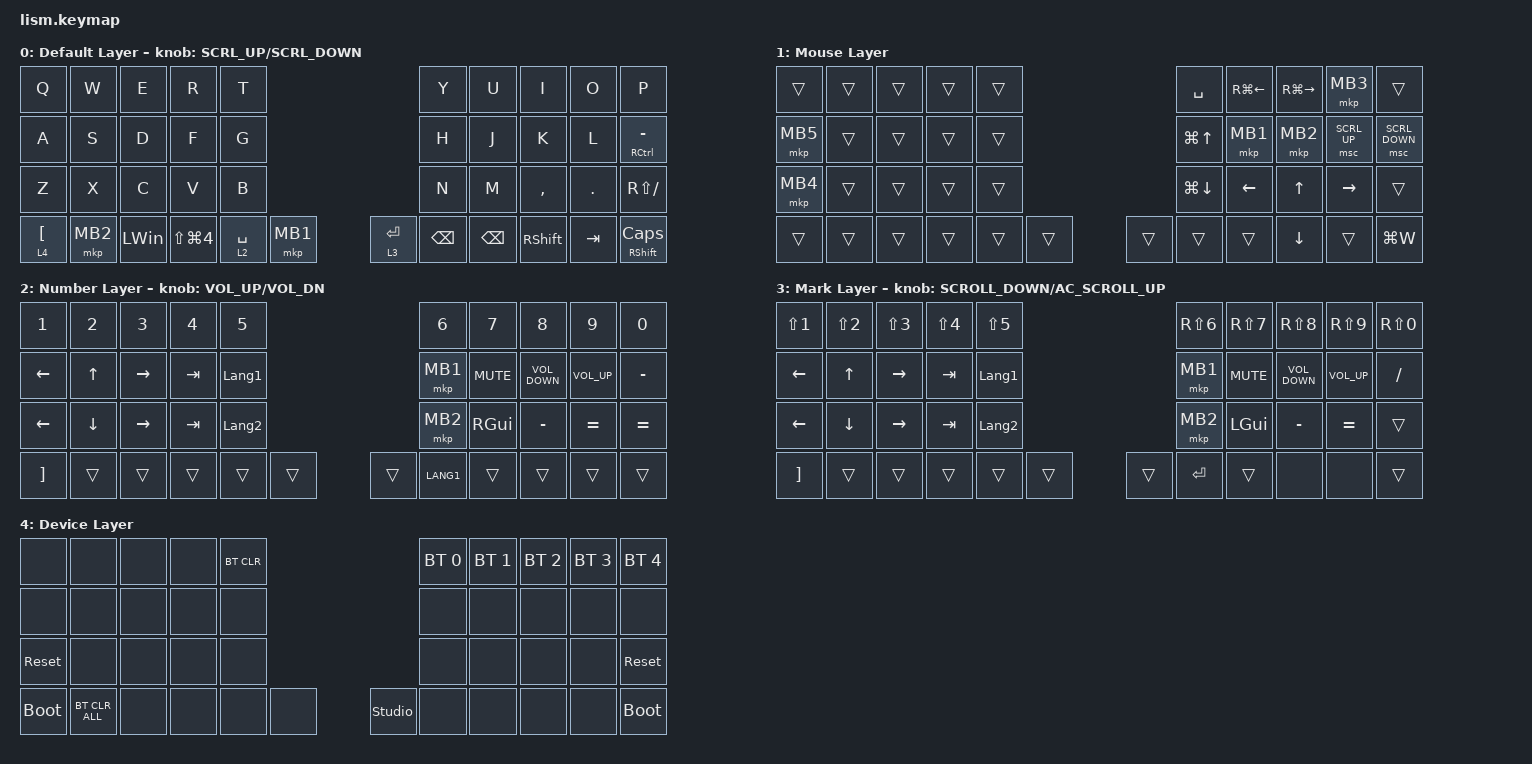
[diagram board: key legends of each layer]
#define ZMK_POINTING_DEFAULT_SCRL_VAL 200

#include <dt-bindings/zmk/mouse.h>
#include <behaviors.dtsi>
#include <dt-bindings/zmk/bt.h>
#include <dt-bindings/zmk/keys.h>
#include <dt-bindings/zmk/pointing.h>

&mt {
    tapping-term-ms = <300>;
    flavor = "balanced";
};

&lt { quick-tap-ms = <300>; };

/ {
    macros {
        emoji: emoji_macro {
            compatible = "zmk,behavior-macro";
            label = "EMOJI";
            #binding-cells = <0>;
            bindings =
                <&macro_press>,
                <&kp CAPSLOCK>,
                <&macro_tap>,
                <&kp E>,
                <&macro_release>,
                <&kp CAPSLOCK>;
        };
    };

    behaviors {
        encoder_msc: sensor_rotate_msc {
            compatible = "zmk,behavior-sensor-rotate-var";
            #sensor-binding-cells = <2>;
            bindings = <&msc>, <&msc>;

            tap-ms = <20>;
        };

        encoder_kp: sensor_rotate_kp {
            compatible = "zmk,behavior-sensor-rotate-var";
            #sensor-binding-cells = <2>;
            bindings = <&kp>, <&kp>;
        };
    };

    combos {
        compatible = "zmk,combos";

        t {
            bindings = <&kp TAB>;
            key-positions = <4 3>;
        };

        cnt {
            bindings = <&kp LEFT_CONTROL>;
            key-positions = <2 1>;
        };

        shift {
            bindings = <&kp LEFT_SHIFT>;
            key-positions = <1 0>;
        };
    };

    keymap {
        compatible = "zmk,keymap";

        default_layer {
            display-name = "Default Layer";
            bindings = <
&kp Q               &kp W     &kp E         &kp R           &kp T                                 &kp Y          &kp U          &kp I            &kp O    &kp P
&kp A               &kp S     &kp D         &kp F           &kp G                                 &kp H          &kp J          &kp K            &kp L    &mt RIGHT_CONTROL MINUS
&kp Z               &kp X     &kp C         &kp V           &kp B                                 &kp N          &kp M          &kp COMMA        &kp DOT  &kp RS(SLASH)
&lt 4 LEFT_BRACKET  &mkp MB2  &kp LEFT_WIN  &kp LS(LG(N4))  &lt 2 SPACE  &mkp MB1    &lt 3 ENTER  &kp BACKSPACE  &kp BACKSPACE  &kp RIGHT_SHIFT  &kp TAB  &mt RIGHT_SHIFT CLCK
            >;

            sensor-bindings = <&encoder_msc SCRL_UP SCRL_DOWN>;
        };

        layer_1 {
            display-name = "Mouse Layer";
            bindings = <
&trans    &trans  &trans  &trans  &trans                    &kp SPACE     &kp RG(LEFT)  &kp RG(RIGHT)  &mkp MB3      &trans
&mkp MB5  &trans  &trans  &trans  &trans                    &kp LG(UP)    &mkp MB1      &mkp MB2       &msc SCRL_UP  &msc SCRL_DOWN
&mkp MB4  &trans  &trans  &trans  &trans                    &kp LG(DOWN)  &kp LEFT      &kp UP         &kp RIGHT     &trans
&trans    &trans  &trans  &trans  &trans  &trans    &trans  &trans        &trans        &kp DOWN       &trans        &kp LG(W)
            >;
        };

        layer_2 {
            display-name = "Number Layer";
            bindings = <
&kp NUMBER_1       &kp NUMBER_2    &kp NUMBER_3     &kp NUMBER_4  &kp N5                            &kp NUMBER_6  &kp N7         &kp N8             &kp N9        &kp N0
&kp LEFT           &kp UP_ARROW    &kp RIGHT        &kp TAB       &kp LANGUAGE_1                    &mkp MB1      &kp K_MUTE     &kp C_VOLUME_DOWN  &kp C_VOL_UP  &kp MINUS
&kp LEFT_ARROW     &kp DOWN_ARROW  &kp RIGHT_ARROW  &kp TAB       &kp LANGUAGE_2                    &mkp MB2      &kp RIGHT_GUI  &kp MINUS          &kp EQUAL     &kp EQUAL
&kp RIGHT_BRACKET  &trans          &trans           &trans        &trans          &trans    &trans  &kp LANG1     &trans         &trans             &trans        &trans
            >;

            sensor-bindings = <&encoder_kp C_VOL_UP C_VOL_DN>;
        };

        layer_3 {
            display-name = "Mark Layer";
            bindings = <
&kp LS(NUMBER_1)   &kp LS(NUMBER_2)  &kp LS(NUMBER_3)  &kp LS(NUMBER_4)  &kp LS(N5)                        &kp RS(NUMBER_6)  &kp RS(N7)    &kp RS(N8)         &kp RS(N9)       &kp RS(N0)
&kp LEFT_ARROW     &kp UP_ARROW      &kp RIGHT         &kp TAB           &kp LANGUAGE_1                    &mkp MB1          &kp K_MUTE    &kp C_VOLUME_DOWN  &kp C_VOLUME_UP  &kp SLASH
&kp LEFT           &kp DOWN          &kp RIGHT_ARROW   &kp TAB           &kp LANGUAGE_2                    &mkp MB2          &kp LEFT_GUI  &kp MINUS          &kp EQUAL        &trans
&kp RIGHT_BRACKET  &trans            &trans            &trans            &trans          &trans    &trans  &kp ENTER         &trans        &none              &none            &trans
            >;

            sensor-bindings = <&inc_dec_kp K_SCROLL_DOWN C_AC_SCROLL_UP>;
        };

        layer_4 {
            display-name = "Device Layer";
            bindings = <
&none        &none           &none  &none  &bt BT_CLR                           &bt BT_SEL 0  &bt BT_SEL 1  &bt BT_SEL 2  &bt BT_SEL 3  &bt BT_SEL 4
&none        &none           &none  &none  &none                                &none         &none         &none         &none         &none
&sys_reset   &none           &none  &none  &none                                &none         &none         &none         &none         &sys_reset
&bootloader  &bt BT_CLR_ALL  &none  &none  &none       &none    &studio_unlock  &none         &none         &none         &none         &bootloader
            >;
        };

        layer_5 {
            status = "reserved";
            display-name = "Brank Layer";
            bindings = <
&trans  &trans  &trans  &trans  &trans                    &trans  &trans  &trans  &trans  &trans
&trans  &trans  &trans  &trans  &trans                    &trans  &trans  &trans  &trans  &trans
&trans  &trans  &trans  &trans  &trans                    &trans  &trans  &trans  &trans  &trans
&trans  &trans  &trans  &trans  &trans  &trans    &trans  &trans  &trans  &trans  &trans  &trans
            >;
        };

        layer_6 {
            status = "reserved";
            display-name = "Brank Layer";
            bindings = <
&trans  &trans  &trans  &trans  &trans                    &trans  &trans  &trans  &trans  &trans
&trans  &trans  &trans  &trans  &trans                    &trans  &trans  &trans  &trans  &trans
&trans  &trans  &trans  &trans  &trans                    &trans  &trans  &trans  &trans  &trans
&trans  &trans  &trans  &trans  &trans  &trans    &trans  &trans  &trans  &trans  &trans  &trans
            >;
        };

        layer_7 {
            status = "reserved";
            display-name = "Brank Layer";
            bindings = <
&trans  &trans  &trans  &trans  &trans                    &trans  &trans  &trans  &trans  &trans
&trans  &trans  &trans  &trans  &trans                    &trans  &trans  &trans  &trans  &trans
&trans  &trans  &trans  &trans  &trans                    &trans  &trans  &trans  &trans  &trans
&trans  &trans  &trans  &trans  &trans  &trans    &trans  &trans  &trans  &trans  &trans  &trans
            >;
        };
    };
};
